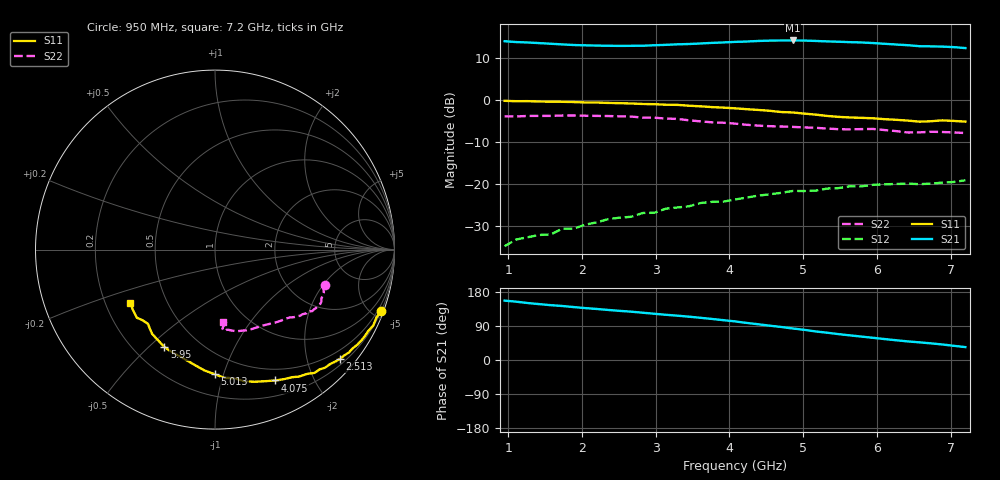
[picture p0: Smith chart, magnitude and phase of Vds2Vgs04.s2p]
!Keysight Technologies,M9375A,US54320202,A.12.55.09
!Date: Monday, July 10, 2023 14:21:44
!Correction: S11(Full 2 Port(1,2))
!S21(Full 2 Port(1,2))
!S12(Full 2 Port(1,2))
!S22(Full 2 Port(1,2))
!S2P File: Measurements: S11, S21, S12, S22:
# Hz S  RI  R 50
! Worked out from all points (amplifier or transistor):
!   41 points, 950 MHz to 7.2 GHz, reference 50 ohm
!   highest |S21| = 14.2 dB at 4.856 GHz (marker M1)
!   |S21| within 3 dB of that: start of sweep to end of sweep
!   unconditionally stable (mu >= 1): nowhere
!   at 1.887 GHz: K = 0.34, MSG = 21.9 dB, |S12| = -30.5 dB
!   at 4.075 GHz: K = 0.66, MSG = 18.8 dB, |S12| = -23.6 dB
!   at 7.2 GHz: K = 0.89, MSG = 15.7 dB, |S12| = -19.0 dB
!   S11 on the Smith chart (normalised r, x): 950 MHz: 0.21, -5.56; 2.513 GHz: 0.31, -2.63; 4.075 GHz: 0.37, -1.50; 5.013 GHz: 0.35, -0.94; 5.95 GHz: 0.32, -0.56; 7.2 GHz: 0.31, -0.26
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9.5e8  0.9253 -0.3434  -4.638 2.001  0.00518 0.0176  0.6145 -0.1964
1.10625e9  0.8997 -0.3782  -4.436 2.172  0.0067 0.021  0.604 -0.2198
1.2625e9  0.8813 -0.4237  -4.241 2.412  0.00794 0.0221  0.6067 -0.2384
1.41875e9  0.855 -0.4519  -4.046 2.578  0.0102 0.0228  0.5981 -0.2597
2.04375e9  0.7639 -0.5528  -3.301 3.077  0.0171 0.0284  0.578 -0.309
2.5125e9  0.6971 -0.6087  -2.835 3.421  0.0217 0.0338  0.5515 -0.3334
2.825e9  0.641 -0.6379  -2.542 3.67  0.0269 0.0369  0.5181 -0.3443
3.1375e9  0.5824 -0.6676  -2.241 3.99  0.0333 0.0391  0.4882 -0.3599
3.60625e9  0.4681 -0.7076  -1.734 4.42  0.0436 0.0411  0.4156 -0.3781
4.075e9  0.3361 -0.7293  -1.02 4.853  0.0515 0.0412  0.3381 -0.4059
4.3875e9  0.2194 -0.7364  -0.3835 5.071  0.0596 0.0428  0.2657 -0.4233
4.54375e9  0.1625 -0.7333  -0.0585 5.133  0.0642 0.0408  0.2341 -0.4333
4.85625e9  0.0532 -0.7149  0.6038 5.123  0.0752 0.0361  0.1769 -0.4492
5.0125e9  0.000182 -0.695  0.9261 5.06  0.0756 0.0349  0.1513 -0.4517
5.16875e9  -0.0587 -0.6733  1.283 4.924  0.0759 0.0363  0.1218 -0.4549
5.48125e9  -0.1632 -0.6137  1.846 4.628  0.0863 0.0263  0.0753 -0.447
5.95e9  -0.2815 -0.5427  2.509 4.096  0.0972 0.0174  0.0503 -0.4535
6.2625e9  -0.3495 -0.4707  2.836 3.638  0.1008 0.0064  0.0461 -0.4274
6.41875e9  -0.3609 -0.4461  2.966 3.422  0.1017 0.00593  0.0577 -0.4101
6.575e9  -0.3731 -0.4139  3.031 3.202  0.1006 0.000167  0.0654 -0.4105
6.8875e9  -0.4356 -0.3794  3.292 2.859  0.1049 -0.0015  0.0718 -0.4137
7.2e9  -0.4714 -0.2986  3.471 2.341  0.1111 -0.0116  0.0424 -0.4055
